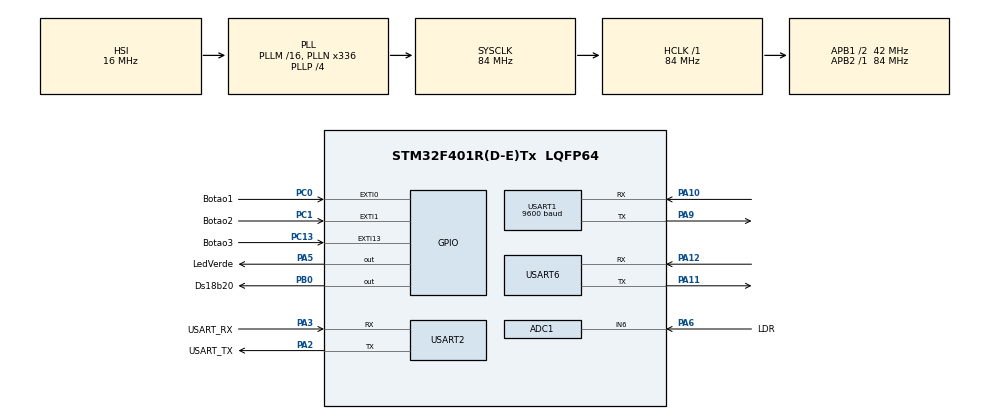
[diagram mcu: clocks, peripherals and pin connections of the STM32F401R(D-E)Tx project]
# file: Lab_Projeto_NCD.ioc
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ADC1.Channel-0\#ChannelRegularConversion=ADC_CHANNEL_6
ADC1.EOCSelection=ADC_EOC_SEQ_CONV
ADC1.NbrOfConversion=1
ADC1.NbrOfConversionFlag=1
ADC1.Rank-0\#ChannelRegularConversion=1
ADC1.SamplingTime-0\#ChannelRegularConversion=ADC_SAMPLETIME_15CYCLES
ADC1.master=1
FREERTOS.Tasks01=defaultTask,0,128,StartDefaultTask,Default,NULL,Dynamic,NULL,NULL;TarefaBotao,0,128,TrataBotao,Default,NULL,Dynamic,NULL,NULL;TarefaPc,0,128,TrataPc,Default,NULL,Dynamic,NULL,NULL;TarefaEsp,0,128,TrataEsp,Default,NULL,Dynamic,NULL,NULL;TarefaLdr,0,128,TrataLdr,Default,NULL,Dynamic,NULL,NULL;TarefaGps,0,128,TrataGps,Default,NULL,Dynamic,NULL,NULL;TarefaDs18b20,0,128,TrataDs18b20,Default,NULL,Dynamic,NULL,NULL;TarefaServidor,0,128,TrataServidor,Default,NULL,Dynamic,NULL,NULL
FREERTOS.configTICK_RATE_HZ=100
Mcu.Family=STM32F4
Mcu.Name=STM32F401R(D-E)Tx
Mcu.Package=LQFP64
NVIC.EXTI15_10_IRQn=true\:5\:0\:false\:false\:true\:true\:true\:true\:true
NVIC.PriorityGroup=NVIC_PRIORITYGROUP_4
NVIC.TIM1_TRG_COM_TIM11_IRQn=true\:15\:0\:false\:false\:true\:false\:false\:true\:true
NVIC.TimeBase=TIM1_TRG_COM_TIM11_IRQn
NVIC.TimeBaseIP=TIM11
NVIC.USART1_IRQn=true\:5\:0\:false\:false\:true\:true\:true\:true\:true
NVIC.USART2_IRQn=true\:5\:0\:false\:false\:true\:true\:true\:true\:true
NVIC.USART6_IRQn=true\:5\:0\:false\:false\:true\:true\:true\:true\:true
PA10.Mode=Asynchronous
PA10.Signal=USART1_RX
PA11.Mode=Asynchronous
PA11.Signal=USART6_TX
PA12.Mode=Asynchronous
PA12.Signal=USART6_RX
PA13.GPIO_Label=TMS
PA13.Mode=Serial_Wire
PA13.Signal=SYS_JTMS-SWDIO
PA14.GPIO_Label=TCK
PA14.Mode=Serial_Wire
PA14.Signal=SYS_JTCK-SWCLK
PA2.GPIO_Label=USART_TX
PA2.GPIO_Mode=GPIO_MODE_AF_PP
PA2.GPIO_PuPd=GPIO_NOPULL
PA2.GPIO_Speed=GPIO_SPEED_FREQ_LOW
PA2.Mode=Asynchronous
PA2.Signal=USART2_TX
PA3.GPIO_Label=USART_RX
PA3.GPIO_Mode=GPIO_MODE_AF_PP
PA3.GPIO_PuPd=GPIO_NOPULL
PA3.GPIO_Speed=GPIO_SPEED_FREQ_LOW
PA3.Mode=Asynchronous
PA3.Signal=USART2_RX
PA5.GPIO_Label=LedVerde
PA5.GPIO_Mode=GPIO_MODE_OUTPUT_PP
PA5.GPIO_PuPd=GPIO_NOPULL
PA5.GPIO_Speed=GPIO_SPEED_FREQ_LOW
PA5.Signal=GPIO_Output
PA6.GPIO_Label=LDR
PA6.Signal=ADCx_IN6
PA9.Mode=Asynchronous
PA9.Signal=USART1_TX
PB0.GPIO_Label=Ds18b20
PB0.GPIO_ModeDefaultOutputPP=GPIO_MODE_OUTPUT_OD
PB0.GPIO_PuPd=GPIO_PULLUP
PB0.GPIO_Speed=GPIO_SPEED_FREQ_HIGH
PB0.PinState=GPIO_PIN_SET
PB0.Signal=GPIO_Output
PB3.GPIO_Label=SWO
PB3.Signal=SYS_JTDO-SWO
PC0.GPIO_Label=Botao1
PC0.GPIO_ModeDefaultEXTI=GPIO_MODE_IT_FALLING
PC0.GPIO_PuPd=GPIO_PULLUP
PC0.Signal=GPXTI0
PC1.GPIO_Label=Botao2
PC1.GPIO_ModeDefaultEXTI=GPIO_MODE_IT_FALLING
PC1.GPIO_PuPd=GPIO_PULLUP
PC1.Signal=GPXTI1
PC13-ANTI_TAMP.GPIO_Label=Botao3
PC13-ANTI_TAMP.GPIO_ModeDefaultEXTI=GPIO_MODE_IT_FALLING
PC13-ANTI_TAMP.GPIO_PuPd=GPIO_PULLUP
PC13-ANTI_TAMP.Signal=GPXTI13
PC14-OSC32_IN.Mode=LSE-External-Oscillator
PC14-OSC32_IN.Signal=RCC_OSC32_IN
PC15-OSC32_OUT.Mode=LSE-External-Oscillator
PC15-OSC32_OUT.Signal=RCC_OSC32_OUT
PH0\ -\ OSC_IN.Mode=HSE-External-Clock-Source
PH0\ -\ OSC_IN.Signal=RCC_OSC_IN
PH1\ -\ OSC_OUT.Mode=HSE-External-Clock-Source
PH1\ -\ OSC_OUT.Signal=RCC_OSC_OUT
ProjectManager.HeapSize=0x200
ProjectManager.StackSize=0x400
ProjectManager.TargetToolchain=MDK-ARM V5.32
RCC.48MHZClocksFreq_Value=48000000
RCC.AHBFreq_Value=84000000
RCC.APB1CLKDivider=RCC_HCLK_DIV2
RCC.APB1Freq_Value=42000000
RCC.APB1TimFreq_Value=84000000
RCC.APB2Freq_Value=84000000
RCC.APB2TimFreq_Value=84000000
RCC.CortexFreq_Value=84000000
RCC.HCLKFreq_Value=84000000
RCC.HSE_VALUE=8000000
RCC.HSI_VALUE=16000000
RCC.PLLN=336
RCC.PLLP=RCC_PLLP_DIV4
RCC.PLLQ=7
RCC.SYSCLKFreq_VALUE=84000000
RCC.SYSCLKSource=RCC_SYSCLKSOURCE_PLLCLK
RCC.VCOOutputFreq_Value=336000000
SH.ADCx_IN6.0=ADC1_IN6,IN6
USART1.BaudRate=9600
USART1.VirtualMode=VM_ASYNC
USART2.VirtualMode=VM_ASYNC
USART6.VirtualMode=VM_ASYNC
VP_FREERTOS_VS_CMSIS_V1.Mode=CMSIS_V1
VP_SYS_VS_tim11.Mode=TIM11
board=NUCLEO-F401RE

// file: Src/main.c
/* USER CODE BEGIN Header */
/**
  ****
  * @file           : main.c
  * @brief          : Main program body
  ****
  * @attention
  *
  * Copyright (c) 2022 STMicroelectronics.
  * All rights reserved.
  *
  * This software is licensed under terms that can be found in the LICENSE file
  * in the root directory of this software component.
  * If no LICENSE file comes with this software, it is provided AS-IS.
  *
  ****
  */
/* USER CODE END Header */
#include "main.h"
#include "cmsis_os.h"

/* USER CODE BEGIN Includes */
#include "stdlib.h"
#include "string.h"
#include "stdio.h"
#include "RingBuffer.h"
#include "math.h"

/* USER CODE END Includes */

/* USER CODE BEGIN PTD */
#define  BIT0   (1 << 0)
#define  BIT1   (1 << 1)
#define  BIT2   (1 << 2)
#define  BIT3   (1 << 3)
#define  BIT4   (1 << 4)
#define  BIT5   (1 << 5)
#define  BIT6   (1 << 6)
#define  BIT7   (1 << 7)
#define  BIT8   (1 << 8)
#define  BIT9   (1 << 9)
#define  BIT10  (1 << 10)
#define  BIT11  (1 << 11)
#define  BIT12  (1 << 12)
#define  BIT13  (1 << 13)
#define  BIT14  (1 << 14)
#define  BIT15  (1 << 15)

#define UART_RX_BUFFER_SIZE 100

#define  EVENTO_BOTAO   BIT0
#define  EVENTO_LDR     BIT1
#define  EVENTO_DS18B20 BIT2

/* USER CODE END PTD */

 ADC_HandleTypeDef hadc1;

UART_HandleTypeDef huart1;
UART_HandleTypeDef huart2;
UART_HandleTypeDef huart6;

osThreadId defaultTaskHandle;
osThreadId TarefaBotaoHandle;
osThreadId TarefaPcHandle;
osThreadId TarefaEspHandle;
osThreadId TarefaLdrHandle;
osThreadId TarefaGpsHandle;
osThreadId TarefaDs18b20Handle;
osThreadId TarefaServidorHandle;
/* USER CODE BEGIN PV */
static uint8_t         rxBufferEsp[UART_RX_BUFFER_SIZE];  // Vetor usado para o Buffer circular do ESP8266
static cbuf_handle_t   ringBufferEsp;         // Estrutura do buffer circular do ESP8266
static uint8_t         byteReceivedEsp;       // Vari?vel que recebe byte por interrup??o do ESP8266
                                              // Retira do buffer para byteFromBufferEsp
static uint8_t         rxBufferPc[UART_RX_BUFFER_SIZE]; // Vetor usado para o Buffer circular do PC
static cbuf_handle_t   ringBufferPc;          // Estrutura do buffer circular do PC
static uint8_t         byteReceivedPc;        // Vari?vel que recebe byte por interrup??o do PC

static uint8_t         rxBufferGps[UART_RX_BUFFER_SIZE]; // Vetor usado para o Buffer circular do GPS
static cbuf_handle_t   ringBufferGps;          // Estrutura do buffer circular do GPS
static uint8_t         byteReceivedGps;        // Vari?vel que recebe byte por interrup??o do GPS

EventGroupHandle_t grupoDeEventos;

static char bufferGps[80] = {0};

/* USER CODE END PV */

void SystemClock_Config(void);
static void MX_GPIO_Init(void);
static void MX_USART2_UART_Init(void);
static void MX_USART6_UART_Init(void);
static void MX_ADC1_Init(void);
static void MX_USART1_UART_Init(void);
void StartDefaultTask(void const * argument);
void TrataBotao(void const * argument);
void TrataPc(void const * argument);
void TrataEsp(void const * argument);
void TrataLdr(void const * argument);
void TrataGps(void const * argument);
void TrataDs18b20(void const * argument);
void TrataServidor(void const * argument);

int main(void)
{

  /* MCU Configuration--------------------------------------------------------*/

  /* Reset of all peripherals, Initializes the Flash interface and the Systick. */
  HAL_Init();

  /* Configure the system clock */
  SystemClock_Config();

  /* Initialize all configured peripherals */
  MX_GPIO_Init();
  MX_USART2_UART_Init();
  MX_USART6_UART_Init();
  MX_ADC1_Init();
  MX_USART1_UART_Init();
  /* USER CODE BEGIN 2 */
  grupoDeEventos = xEventGroupCreate();

  /* USER CODE END 2 */

  /* Create the thread(s) */
  /* definition and creation of defaultTask */
  osThreadDef(defaultTask, StartDefaultTask, osPriorityNormal, 0, 128);
  defaultTaskHandle = osThreadCreate(osThread(defaultTask), NULL);

  /* definition and creation of TarefaBotao */
  osThreadDef(TarefaBotao, TrataBotao, osPriorityNormal, 0, 128);
  TarefaBotaoHandle = osThreadCreate(osThread(TarefaBotao), NULL);

  /* definition and creation of TarefaPc */
  osThreadDef(TarefaPc, TrataPc, osPriorityNormal, 0, 128);
  TarefaPcHandle = osThreadCreate(osThread(TarefaPc), NULL);

  /* definition and creation of TarefaEsp */
  osThreadDef(TarefaEsp, TrataEsp, osPriorityNormal, 0, 128);
  TarefaEspHandle = osThreadCreate(osThread(TarefaEsp), NULL);

  /* definition and creation of TarefaLdr */
  osThreadDef(TarefaLdr, TrataLdr, osPriorityNormal, 0, 128);
  TarefaLdrHandle = osThreadCreate(osThread(TarefaLdr), NULL);

  /* definition and creation of TarefaGps */
  osThreadDef(TarefaGps, TrataGps, osPriorityNormal, 0, 128);
  TarefaGpsHandle = osThreadCreate(osThread(TarefaGps), NULL);

  /* definition and creation of TarefaDs18b20 */
  osThreadDef(TarefaDs18b20, TrataDs18b20, osPriorityNormal, 0, 128);
  TarefaDs18b20Handle = osThreadCreate(osThread(TarefaDs18b20), NULL);

  /* definition and creation of TarefaServidor */
  osThreadDef(TarefaServidor, TrataServidor, osPriorityNormal, 0, 128);
  TarefaServidorHandle = osThreadCreate(osThread(TarefaServidor), NULL);

  /* Start scheduler */
  osKernelStart();

  /* We should never get here as control is now taken by the scheduler */
  /* Infinite loop */
  while (1)
  {

  }
}

void SystemClock_Config(void)
{
  RCC_OscInitTypeDef RCC_OscInitStruct = {0};
  RCC_ClkInitTypeDef RCC_ClkInitStruct = {0};

  /** Configure the main internal regulator output voltage
  */
  __HAL_RCC_PWR_CLK_ENABLE();
  __HAL_PWR_VOLTAGESCALING_CONFIG(PWR_REGULATOR_VOLTAGE_SCALE2);

  /** Initializes the RCC Oscillators according to the specified parameters
  * in the RCC_OscInitTypeDef structure.
  */
  RCC_OscInitStruct.OscillatorType = RCC_OSCILLATORTYPE_HSI;
  RCC_OscInitStruct.HSIState = RCC_HSI_ON;
  RCC_OscInitStruct.HSICalibrationValue = RCC_HSICALIBRATION_DEFAULT;
  RCC_OscInitStruct.PLL.PLLState = RCC_PLL_ON;
  RCC_OscInitStruct.PLL.PLLSource = RCC_PLLSOURCE_HSI;
  RCC_OscInitStruct.PLL.PLLM = 16;
  RCC_OscInitStruct.PLL.PLLN = 336;
  RCC_OscInitStruct.PLL.PLLP = RCC_PLLP_DIV4;
  RCC_OscInitStruct.PLL.PLLQ = 7;
  if (HAL_RCC_OscConfig(&RCC_OscInitStruct) != HAL_OK)
  {
    Error_Handler();
  }

  /** Initializes the CPU, AHB and APB buses clocks
  */
  RCC_ClkInitStruct.ClockType = RCC_CLOCKTYPE_HCLK|RCC_CLOCKTYPE_SYSCLK
                              |RCC_CLOCKTYPE_PCLK1|RCC_CLOCKTYPE_PCLK2;
  RCC_ClkInitStruct.SYSCLKSource = RCC_SYSCLKSOURCE_PLLCLK;
  RCC_ClkInitStruct.AHBCLKDivider = RCC_SYSCLK_DIV1;
  RCC_ClkInitStruct.APB1CLKDivider = RCC_HCLK_DIV2;
  RCC_ClkInitStruct.APB2CLKDivider = RCC_HCLK_DIV1;

  if (HAL_RCC_ClockConfig(&RCC_ClkInitStruct, FLASH_LATENCY_2) != HAL_OK)
  {
    Error_Handler();
  }
}

static void MX_ADC1_Init(void)
{

  ADC_ChannelConfTypeDef sConfig = {0};

  /** Configure the global features of the ADC (Clock, Resolution, Data Alignment and number of conversion)
  */
  hadc1.Instance = ADC1;
  hadc1.Init.ClockPrescaler = ADC_CLOCK_SYNC_PCLK_DIV4;
  hadc1.Init.Resolution = ADC_RESOLUTION_12B;
  hadc1.Init.ScanConvMode = DISABLE;
  hadc1.Init.ContinuousConvMode = DISABLE;
  hadc1.Init.DiscontinuousConvMode = DISABLE;
  hadc1.Init.ExternalTrigConvEdge = ADC_EXTERNALTRIGCONVEDGE_NONE;
  hadc1.Init.ExternalTrigConv = ADC_SOFTWARE_START;
  hadc1.Init.DataAlign = ADC_DATAALIGN_RIGHT;
  hadc1.Init.NbrOfConversion = 1;
  hadc1.Init.DMAContinuousRequests = DISABLE;
  hadc1.Init.EOCSelection = ADC_EOC_SEQ_CONV;
  if (HAL_ADC_Init(&hadc1) != HAL_OK)
  {
    Error_Handler();
  }

  /** Configure for the selected ADC regular channel its corresponding rank in the sequencer and its sample time.
  */
  sConfig.Channel = ADC_CHANNEL_6;
  sConfig.Rank = 1;
  sConfig.SamplingTime = ADC_SAMPLETIME_15CYCLES;
  if (HAL_ADC_ConfigChannel(&hadc1, &sConfig) != HAL_OK)
  {
    Error_Handler();
  }

}

static void MX_USART1_UART_Init(void)
{

  huart1.Instance = USART1;
  huart1.Init.BaudRate = 9600;
  huart1.Init.WordLength = UART_WORDLENGTH_8B;
  huart1.Init.StopBits = UART_STOPBITS_1;
  huart1.Init.Parity = UART_PARITY_NONE;
  huart1.Init.Mode = UART_MODE_TX_RX;
  huart1.Init.HwFlowCtl = UART_HWCONTROL_NONE;
  huart1.Init.OverSampling = UART_OVERSAMPLING_16;
  if (HAL_UART_Init(&huart1) != HAL_OK)
  {
    Error_Handler();
  }

}

static void MX_USART2_UART_Init(void)
{

  huart2.Instance = USART2;
  huart2.Init.BaudRate = 115200;
  huart2.Init.WordLength = UART_WORDLENGTH_8B;
  huart2.Init.StopBits = UART_STOPBITS_1;
  huart2.Init.Parity = UART_PARITY_NONE;
  huart2.Init.Mode = UART_MODE_TX_RX;
  huart2.Init.HwFlowCtl = UART_HWCONTROL_NONE;
  huart2.Init.OverSampling = UART_OVERSAMPLING_16;
  if (HAL_UART_Init(&huart2) != HAL_OK)
  {
    Error_Handler();
  }

}

static void MX_USART6_UART_Init(void)
{

  huart6.Instance = USART6;
  huart6.Init.BaudRate = 115200;
  huart6.Init.WordLength = UART_WORDLENGTH_8B;
  huart6.Init.StopBits = UART_STOPBITS_1;
  huart6.Init.Parity = UART_PARITY_NONE;
  huart6.Init.Mode = UART_MODE_TX_RX;
  huart6.Init.HwFlowCtl = UART_HWCONTROL_NONE;
  huart6.Init.OverSampling = UART_OVERSAMPLING_16;
  if (HAL_UART_Init(&huart6) != HAL_OK)
  {
    Error_Handler();
  }

}

static void MX_GPIO_Init(void)
{
  GPIO_InitTypeDef GPIO_InitStruct = {0};

  /* GPIO Ports Clock Enable */
  __HAL_RCC_GPIOC_CLK_ENABLE();
  __HAL_RCC_GPIOH_CLK_ENABLE();
  __HAL_RCC_GPIOA_CLK_ENABLE();
  __HAL_RCC_GPIOB_CLK_ENABLE();

  /*Configure GPIO pin Output Level */
  HAL_GPIO_WritePin(LedVerde_GPIO_Port, LedVerde_Pin, GPIO_PIN_RESET);

  /*Configure GPIO pin Output Level */
  HAL_GPIO_WritePin(Ds18b20_GPIO_Port, Ds18b20_Pin, GPIO_PIN_SET);

  /*Configure GPIO pins : Botao3_Pin Botao1_Pin Botao2_Pin */
  GPIO_InitStruct.Pin = Botao3_Pin|Botao1_Pin|Botao2_Pin;
  GPIO_InitStruct.Mode = GPIO_MODE_IT_FALLING;
  GPIO_InitStruct.Pull = GPIO_PULLUP;
  HAL_GPIO_Init(GPIOC, &GPIO_InitStruct);

  /*Configure GPIO pin : LedVerde_Pin */
  GPIO_InitStruct.Pin = LedVerde_Pin;
  GPIO_InitStruct.Mode = GPIO_MODE_OUTPUT_PP;
  GPIO_InitStruct.Pull = GPIO_NOPULL;
  GPIO_InitStruct.Speed = GPIO_SPEED_FREQ_LOW;
  HAL_GPIO_Init(LedVerde_GPIO_Port, &GPIO_InitStruct);

  /*Configure GPIO pin : Ds18b20_Pin */
  GPIO_InitStruct.Pin = Ds18b20_Pin;
  GPIO_InitStruct.Mode = GPIO_MODE_OUTPUT_OD;
  GPIO_InitStruct.Pull = GPIO_PULLUP;
  GPIO_InitStruct.Speed = GPIO_SPEED_FREQ_HIGH;
  HAL_GPIO_Init(Ds18b20_GPIO_Port, &GPIO_InitStruct);

  /* EXTI interrupt init*/
  HAL_NVIC_SetPriority(EXTI15_10_IRQn, 5, 0);
  HAL_NVIC_EnableIRQ(EXTI15_10_IRQn);

}

/* USER CODE BEGIN 4 */
/**
  * @brief  EXTI line detection callbacks.
  * @param  GPIO_Pin Specifies the pins connected EXTI line
  * @retval None
  */
void HAL_GPIO_EXTI_Callback(uint16_t GPIO_Pin)
{
    BaseType_t acordouTarefa = pdFALSE;

    if (GPIO_Pin == BIT13)
    {
        HAL_NVIC_DisableIRQ(EXTI15_10_IRQn);
        vTaskNotifyGiveFromISR(TarefaBotaoHandle, &acordouTarefa);
        portYIELD_FROM_ISR(acordouTarefa);
    }
}

/**
  * @brief  Rx Transfer completed callbacks.
  * @param  huart  Pointer to a UART_HandleTypeDef structure that contains
  *                the configuration information for the specified UART module.
  * @retval None
  */
int cont = 0;
int hr=0,min=0,dia=0,mes=0,ano=0;
void ProcessRMC()
	{
		char time[80];
		char pos[1];
		char lat[20], lon[20];
		char lonDir[80], latDir[80];
		char speed[80];
		char track[80];
		char date[80];
		char magVar[80];
		char varDir[80];
		char mode[1];
		char checkSum[3];

		//double latTemp, latGrau, latMinutos, latSegundos, lonTemp, lonGrau, lonSegundos;
		char latitude[40], latGrau[20], latMinutos[20], latSegundos[20], longitude[40],lonMinutos[20], lonGrau[20], lonSegundos[20], timeTotal[40], timeHora[20],timeMin[20], timeSeg[20], dia[20], mes[20], ano[20], dataDeEnvio[40];

		//double latEnviar;

		uint8_t result = 0;
		result = sscanf(bufferGps, "$GPRMC,%[^','], %[^','], %[^','], %[^','], %[^','], %[^','], %[^','], %[^','], %[^','], %[^','], %[^','], %[^','], %[^',']", time, pos, lat, latDir, lon, lonDir, speed, track, date, magVar, varDir, mode, checkSum);

		HAL_UART_Transmit(&huart2, (uint8_t *)date, 20, 10);

		char string1[5] = "\n";
		if(result)
		{
			//Latitude_______________________________________________________________________________________________________________________________________________________________________________________________________
			strcat(latitude,"Latitude: ");

      strcat(latGrau,&lat[0]);
      strcat(latGrau,&lat[1]);
      latGrau[2] = '\0';
      strcat(latitude,latGrau);
      strcat(latitude,"°");

      strcat(latMinutos,&lat[2]);
      strcat(latMinutos,&lat[3]);
      latMinutos[2] = '\0';
			strcat(latitude,latMinutos);
      strcat(latitude,"'");

      strcat(latSegundos,&lat[5]);
      strcat(latSegundos,&lat[6]);
      latSegundos[2] = '\0';
			strcat(latitude,latSegundos);
      strcat(latitude,"''");
			strcat(latitude,latDir);
			strcat(latitude,"\n");

			HAL_UART_Transmit(&huart2, (uint8_t *)string1, strlen(string1), 10);
			HAL_UART_Transmit(&huart2, (uint8_t *)latitude, strlen(latitude), 10);

			strcpy(latGrau, "\0");
			strcpy(latMinutos, "\0");
			strcpy(latSegundos, "\0");
			strcpy(latitude, "\0");

			//Longitude_______________________________________________________________________________________________________________________________________________________________________________________________________
			strcat(longitude,"Longitude: ");

      strcat(lonGrau,&lon[0]);
      strcat(lonGrau,&lon[1]);
      lonGrau[2] = '\0';
      strcat(longitude,lonGrau);
      strcat(longitude,"°");

      strcat(lonMinutos,&lon[2]);
      strcat(lonMinutos,&lon[3]);
      lonMinutos[2] = '\0';
			strcat(longitude,lonMinutos);
      strcat(longitude,"'");

      strcat(lonSegundos,&lon[4]);
      strcat(lonSegundos,&lon[6]);
      lonSegundos[2] = '\0';
			strcat(longitude,lonSegundos);
      strcat(longitude,"''");
			strcat(longitude,lonDir);
			strcat(longitude,"\n");

			HAL_UART_Transmit(&huart2, (uint8_t *)string1, strlen(string1), 10);
			HAL_UART_Transmit(&huart2, (uint8_t *)longitude, strlen(longitude), 10);

			strcpy(lonGrau, "\0");
			strcpy(lonMinutos, "\0");
			strcpy(lonSegundos, "\0");
			strcpy(longitude, "\0");

			//Tempo___________________________________________________________________________________________________________________________________________________________________________________________________________
			strcat(timeTotal,"Hora: ");

      strcat(timeHora,&time[0]);
      strcat(timeHora,&time[1]);
      timeHora[2] = '\0';
      strcat(timeTotal,timeHora);
      strcat(timeTotal,"h");

      strcat(timeMin,&time[2]);
      strcat(timeMin,&time[3]);
      timeMin[2] = '\0';
			strcat(timeTotal,timeMin);
      strcat(timeTotal,"m");

      strcat(timeSeg,&time[4]);
      strcat(timeSeg,&time[5]);
      timeSeg[2] = '\0';
			strcat(timeTotal,timeSeg);
      strcat(timeTotal,"s");
			strcat(timeTotal,"\n");

			HAL_UART_Transmit(&huart2, (uint8_t *)string1, strlen(string1), 10);
			HAL_UART_Transmit(&huart2, (uint8_t *)timeTotal, 20, 10);

			strcpy(timeHora, "\0");
			strcpy(timeMin, "\0");
			strcpy(timeSeg, "\0");
			strcpy(timeTotal, "\0");

			//Data____________________________________________________________________________________________________________________________________________________________________________________________________________

			strcat(dataDeEnvio,"Data: ");

      strcat(dia,&date[0]);
      strcat(dia,&date[1]);
      dia[2] = '\0';
      strcat(dataDeEnvio,dia);
      strcat(dataDeEnvio,"/");

      strcat(mes,&date[2]);
      strcat(mes,&date[3]);
      mes[2] = '\0';
			strcat(dataDeEnvio,mes);
      strcat(dataDeEnvio,"/");

      strcat(ano,&date[4]);
      strcat(ano,&date[5]);
      ano[2] = '\0';
			strcat(dataDeEnvio,ano);
			strcat(dataDeEnvio,"\n");

			HAL_UART_Transmit(&huart2, (uint8_t *)string1, strlen(string1), 10);
			HAL_UART_Transmit(&huart2, (uint8_t *)dataDeEnvio, 20, 10);

			strcpy(dia, "\0");
			strcpy(mes, "\0");
			strcpy(ano, "\0");
			strcpy(dataDeEnvio, "\0");

		}

	}
uint8_t GPS_recebeByte(uint8_t byteReceived){
		//circular_buf_put(ringBufferGps, byteReceivedGps);              // put every received byte into ring buffer
		//HAL_UART_Receive_IT(&huart1, &byteReceivedGps, 1);
		static uint8_t indice = 0;
		static uint8_t estado = 0;
		uint8_t result = 0;

		bufferGps[indice++] = byteReceived;

		switch(estado)
		{
			case 0:
				if(byteReceived == '$')
				{
					estado++;
					indice = 1;
				}
				else
				{
					indice = 0;
				}
				break;

			case 1:
				if(byteReceived == '*')
				{
					estado++;
				}

				break;

			case 2:
				estado++;
				break;

			case 3:
				estado++;
				break;

			case 4:
				if(byteReceived == '\n')
				{
					if (1)
						//(0 == strncmp(bufferGps, "$GPRMC", 6))
					{
						ProcessRMC();
						estado = 0; //deletar
						indice = 0;
						result = 1;
					}
				}
				break;
			default:
				indice = 0;
				estado = 0;
				//strcpy(bufferGps, "");
		}
		//strcpy(bufferGps, "");
		return result;
}

void HAL_UART_RxCpltCallback(UART_HandleTypeDef *huart)
{
		char tempChar;
    BaseType_t acordouTarefa = pdFALSE;

    if (huart == &huart1)//mudar pra 2 dnv!!!!!!!!!!!!!!!!!!!
    {
        circular_buf_put(ringBufferPc, byteReceivedPc);              // put every received byte into ring buffer
        HAL_UART_Receive_IT(&huart2, &byteReceivedPc, 1);            // Set up next byte interrupt
        vTaskNotifyGiveFromISR(TarefaPcHandle, &acordouTarefa);
        portYIELD_FROM_ISR(acordouTarefa);
    }
    else if (huart == &huart6)
    {
        circular_buf_put(ringBufferEsp, byteReceivedEsp);              // put every received byte into ring buffer
        HAL_UART_Receive_IT(&huart6, &byteReceivedEsp, 1);
        vTaskNotifyGiveFromISR(TarefaEspHandle, &acordouTarefa);
        portYIELD_FROM_ISR(acordouTarefa);
    }
    else if (huart == &huart2)//mudar pra 1 dnv!!!!!!!!!!!!!!!!!!!!!!!!!!
    {
			tempChar = byteReceivedGps;
			HAL_UART_Receive_IT(&huart2, &byteReceivedGps, 1);
      if (GPS_recebeByte(tempChar))
				{
					vTaskNotifyGiveFromISR(TarefaGpsHandle, &acordouTarefa);
					portYIELD_FROM_ISR(acordouTarefa);
				}
    }
 }

/* USER CODE END 4 */

void StartDefaultTask(void const * argument)
{
  /* USER CODE BEGIN 5 */
  /* Infinite loop */
  for(;;)
  {
      HAL_GPIO_TogglePin(LedVerde_GPIO_Port, LedVerde_Pin);
      osDelay(250);  }
  /* USER CODE END 5 */
}

void TrataBotao(void const * argument)
{
  /* USER CODE BEGIN TrataBotao */

  /* Infinite loop */
  for(;;)
  {
  		  ulTaskNotifyTake(pdTRUE, portMAX_DELAY);
        xEventGroupSetBits(grupoDeEventos, EVENTO_BOTAO);

//   Filtro de debounce
        osDelay(100);
        EXTI->PR = BIT13;
        HAL_NVIC_EnableIRQ(EXTI15_10_IRQn);
  }
  /* USER CODE END TrataBotao */
}

void TrataPc(void const * argument)
{
  /* USER CODE BEGIN TrataPc */
     static uint8_t byteFromBufferPc;

    ringBufferPc = circular_buf_init(rxBufferPc, UART_RX_BUFFER_SIZE);
    HAL_UART_Receive_IT(&huart2, &byteReceivedPc, 1);

    /* Infinite loop */
    for(;;)
    {
        ulTaskNotifyTake(pdTRUE, portMAX_DELAY);
        while (circular_buf_get(ringBufferPc, &byteFromBufferPc) == SUCCESS) // While there is byte to be received,
        {
            HAL_UART_Transmit(&huart6, &byteFromBufferPc, 1, 10);
        }
    }

  /* USER CODE END TrataPc */
}

void TrataEsp(void const * argument)
{
  /* USER CODE BEGIN TrataEsp */
    static uint8_t byteFromBufferEsp;

    ringBufferEsp = circular_buf_init(rxBufferEsp, UART_RX_BUFFER_SIZE);
    HAL_UART_Receive_IT(&huart6, &byteReceivedEsp, 1);

    /* Infinite loop */
    for(;;)
    {
        ulTaskNotifyTake(pdTRUE, portMAX_DELAY);
        while (circular_buf_get(ringBufferEsp, &byteFromBufferEsp) == SUCCESS) // While there is byte to be received,
        {
            HAL_UART_Transmit(&huart2, &byteFromBufferEsp, 1, 10);

        }
    }
  /* USER CODE END TrataEsp */
}

void TrataLdr(void const * argument)
{
  /* USER CODE BEGIN TrataLdr */
    char string2[30];
    uint32_t valorAdc;

  /* Infinite loop */
  for(;;)
  {
      HAL_ADC_Start(&hadc1);
      if ( HAL_ADC_PollForConversion(&hadc1, 100) == HAL_OK)
      {
          valorAdc = HAL_ADC_GetValue(&hadc1);
          sprintf(string2, "Adc = %0X\n", valorAdc);
//          HAL_UART_Transmit(&huart2, (uint8_t *)string2, strlen(string2), 10);
   	      xEventGroupSetBits(grupoDeEventos, EVENTO_LDR);
      }
      osDelay(2000);
		}
  /* USER CODE END TrataLdr */
}

void TrataGps(void const * argument)
{
  /* USER CODE BEGIN TrataGps */
    static uint8_t byteFromBufferGps;

   // ringBufferGps = circular_buf_init(rxBufferGps, UART_RX_BUFFER_SIZE);
    HAL_UART_Receive_IT(&huart2, &byteReceivedGps, 1);//mudar pra uart 1

		char string1[] = "\nRecebeu msg\n";

    /* Infinite loop */
    for(;;)
    {
        ulTaskNotifyTake(pdTRUE, portMAX_DELAY);

				HAL_UART_Transmit(&huart2, (uint8_t *)string1, strlen(string1), 10);
				HAL_UART_Transmit(&huart2, (uint8_t *)bufferGps, strlen(bufferGps), 10);
        /*while (circular_buf_get(ringBufferGps, &byteFromBufferGps) == SUCCESS) // While there is byte to be received,
        {
            HAL_UART_Transmit(&huart2, (uint8_t *)string1, strlen(string1), 10);
						HAL_UART_Transmit(&huart2, (uint8_t *)bufferGps, strlen(bufferGps), 10);
        }*/
    }
  /* USER CODE END TrataGps */
}

void TrataDs18b20(void const * argument)
{
  /* USER CODE BEGIN TrataDs18b20 */
  /* Infinite loop */
  for(;;)
  {
      xEventGroupSetBits(grupoDeEventos, EVENTO_DS18B20);
      osDelay(1000);
  }
  /* USER CODE END TrataDs18b20 */
}

void TrataServidor(void const * argument)
{
  /* USER CODE BEGIN TrataServidor */
	  const EventBits_t eventosAguardados = EVENTO_BOTAO |
			                                    EVENTO_DS18B20 |
		                                      EVENTO_LDR;
	  EventBits_t eventos;
    char string1[] = "Apertou botao!\n";
    char string2[] = "Sensor de temperatura!\n";
    char string3[] = "Transdutor LDR!\n";
  /* Infinite loop */
  for(;;)
  {
      eventos = xEventGroupWaitBits(grupoDeEventos,
																		eventosAguardados,
																		pdTRUE,
																		pdTRUE,
																		portMAX_DELAY);
		    if ( (eventos & EVENTO_BOTAO) != 0)
				{
					HAL_UART_Transmit(&huart2, (uint8_t *)string1, strlen(string1), 10);
				}
				if ( (eventos & EVENTO_DS18B20) != 0)
				{
					HAL_UART_Transmit(&huart2, (uint8_t *)string2, strlen(string2), 10);
				}
				if ( (eventos & EVENTO_LDR) != 0)
				{
					HAL_UART_Transmit(&huart2, (uint8_t *)string3, strlen(string3), 10);
				}
  }
  /* USER CODE END TrataServidor */
}

void HAL_TIM_PeriodElapsedCallback(TIM_HandleTypeDef *htim)
{
  if (htim->Instance == TIM11) {
    HAL_IncTick();
  }
}

void Error_Handler(void)
{
  __disable_irq();
  while (1)
  {
  }
}
